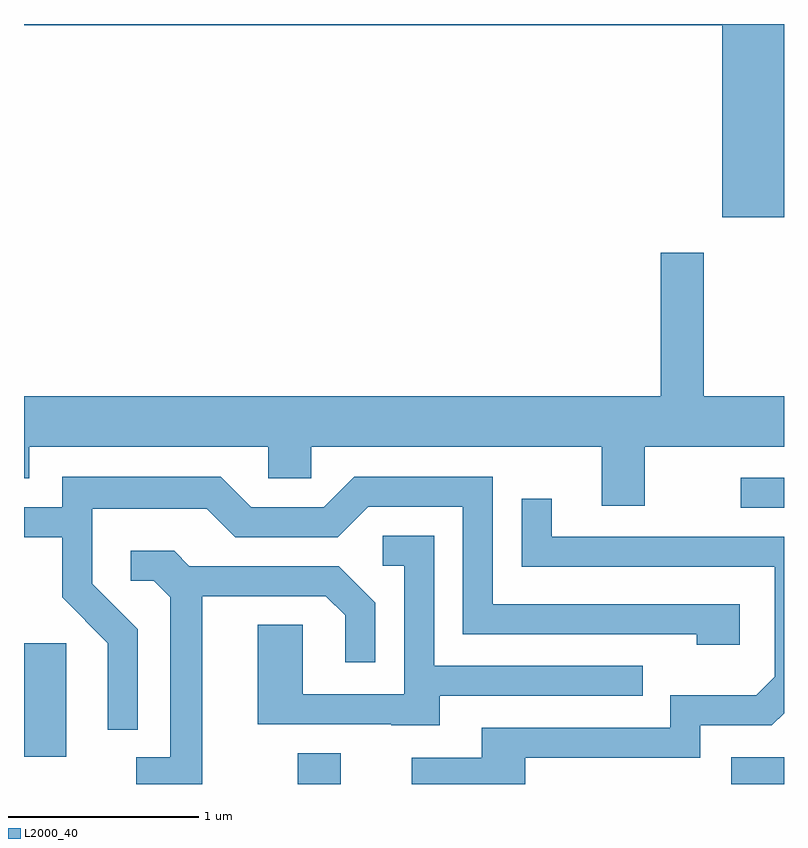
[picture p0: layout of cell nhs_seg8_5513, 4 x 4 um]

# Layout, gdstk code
import gdstk
lib = gdstk.Library(unit=1e-6, precision=1e-09)
def R(c, l, rs):  # rectangles x0, y0, x1, y1
    for r in rs: c.add(gdstk.rectangle(r[:2], r[2:], *l))
def P(c, l, *ps):  # polygons
    for p in ps: c.add(gdstk.Polygon(p, *l))
L2000_40 = (2000, 40)

nhs_seg8_5513 = lib.new_cell('nhs_seg8_5513')
R(nhs_seg8_5513, L2000_40, [(351.051,1912.342,351.279,1912.504), (353.333,1912.342,353.611,1912.484), (349.611,1912.486,349.834,1913.084), (353.383,1913.796,353.611,1913.954)])
P(nhs_seg8_5513, L2000_40, [(353.611,1916.342),(349.611,1916.342),(349.611,1916.336),(353.286,1916.336),(353.286,1915.326),(353.611,1915.326)],
  [(352.879,1914.116),(353.611,1914.116),(353.611,1914.384),(353.189,1914.384),(353.189,1915.139),(352.961,1915.139),(352.961,1914.384),(349.611,1914.384),(349.611,1913.951),(349.639,1913.951),(349.639,1914.116),(350.896,1914.116),(350.896,1913.951),(351.124,1913.951),(351.124,1914.116),(352.651,1914.116),(352.651,1913.806),(352.879,1913.806)],
  [(350.209,1913.157),(349.969,1913.397),(349.969,1913.791),(350.574,1913.791),(350.724,1913.641),(351.262,1913.641),(351.422,1913.801),(351.921,1913.801),(351.921,1913.131),(353.151,1913.131),(353.151,1913.076),(353.379,1913.076),(353.379,1913.289),(352.079,1913.289),(352.079,1913.959),(351.349,1913.959),(351.189,1913.799),(350.807,1913.799),(350.647,1913.959),(349.811,1913.959),(349.811,1913.799),(349.611,1913.799),(349.611,1913.641),(349.811,1913.641),(349.811,1913.324),(350.051,1913.084),(350.051,1912.628),(350.209,1912.628)],
  [(352.249,1912.481),(353.169,1912.481),(353.169,1912.651),(353.547,1912.651),(353.611,1912.715),(353.611,1913.644),(352.389,1913.644),(352.389,1913.843),(352.231,1913.843),(352.231,1913.486),(353.561,1913.486),(353.561,1912.907),(353.464,1912.809),(353.011,1912.809),(353.011,1912.639),(352.021,1912.639),(352.021,1912.479),(351.653,1912.479),(351.653,1912.342),(352.249,1912.342)],
  [(351.799,1912.806),(352.868,1912.806),(352.868,1912.964),(351.769,1912.964),(351.769,1913.649),(351.498,1913.649),(351.498,1913.491),(351.611,1913.491),(351.611,1912.814),(351.079,1912.814),(351.079,1913.179),(350.841,1913.179),(350.841,1912.656),(351.545,1912.656),(351.545,1912.651),(351.799,1912.651)],
  [(350.549,1913.331),(351.199,1913.331),(351.301,1913.229),(351.301,1912.983),(351.459,1912.983),(351.459,1913.297),(351.267,1913.489),(350.482,1913.489),(350.402,1913.569),(350.173,1913.569),(350.173,1913.411),(350.294,1913.411),(350.381,1913.324),(350.381,1912.484),(350.203,1912.484),(350.203,1912.342),(350.549,1912.342)])

lib.write_gds('nhs_seg8_5513.gds')
